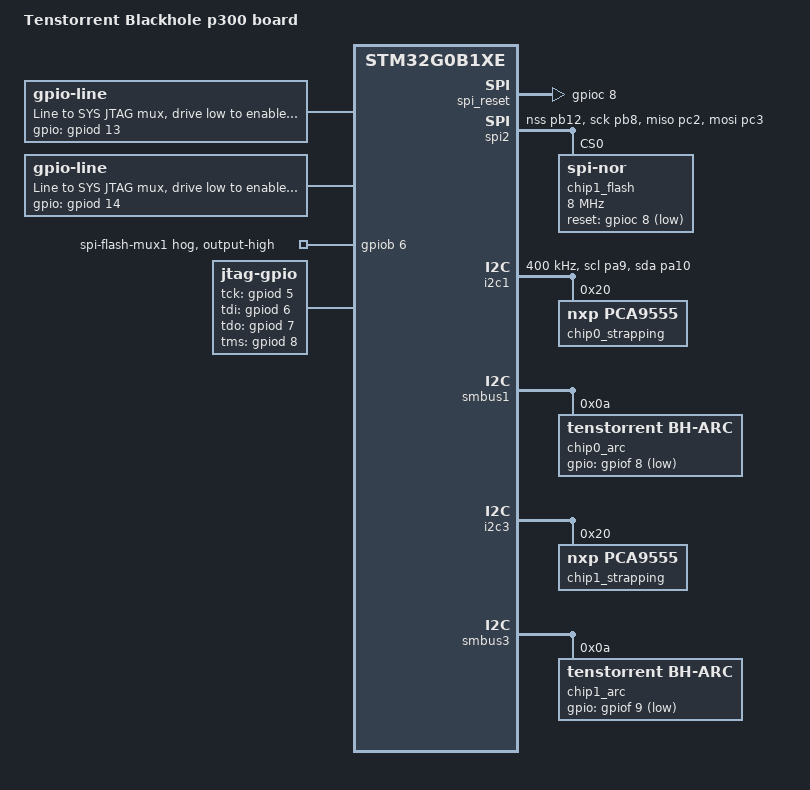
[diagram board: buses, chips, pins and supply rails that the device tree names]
/*
 * Copyright (c) 2024 Tenstorrent AI ULC
 *
 * SPDX-License-Identifier: Apache-2.0
 */

/dts-v1/;
#include <st/g0/stm32g0b1Xe.dtsi>
#include <st/g0/stm32g0b1v(b-c-e)ix-pinctrl.dtsi>

#include "tt_blackhole_base.dtsi"

/*
 * Left chip is local (comes up in non bifercation mode) this is referred to as chip1
 * in the schematics
 * Right chip is remote, and is referred to as chip0
 */

/ {
	model = "Tenstorrent Blackhole p300 board";
	compatible = "tenstorrent,blackhole,p300";

	chosen {
		zephyr,sram = &sram0;
		zephyr,flash = &flash0;
		zephyr,code-partition = &slot0_partition;
	};

	chip1: chip1 {
		compatible = "tenstorrent,bh-chip";

		asic_reset {
			compatible = "zephyr,gpio-line";
			label = "Line to asic reset";
			gpios = <&gpiob 1 GPIO_ACTIVE_LOW>;
		};

		spi_reset {
			compatible = "zephyr,gpio-line";
			label = "Line to SPI reset";
			gpios = <&gpioc 8 GPIO_ACTIVE_LOW>;
		};

		pgood {
			compatible = "zephyr,gpio-line";
			label = "PGOOD signal for asic 1";
			gpios = <&gpioc 5 GPIO_PULL_DOWN>;
		};

		therm_trip {
			compatible = "zephyr,gpio-line";
			label = "Thermal trip indicator";
			gpios = <&gpioc 9 GPIO_ACTIVE_HIGH>;
		};

		jtag {
			compatible = "zephyr,jtag-gpio";
			status = "okay";
			tck-gpios = <&gpiod 9 GPIO_ACTIVE_HIGH>;
			tdi-gpios = <&gpiod 10 GPIO_ACTIVE_HIGH>;
			tdo-gpios = <&gpiod 11 GPIO_ACTIVE_HIGH>;
			tms-gpios = <&gpiod 12 GPIO_ACTIVE_HIGH>;
			port-write-cycles = <2>;
			tck-delay = <1>;
		};

		strapping {
			gpio6 {
				compatible = "zephyr,gpio-line";
				label = "GPIO pin representing strap gpio6";
				gpios = <&chip1_strapping 4 GPIO_ACTIVE_HIGH>;
			};
		};

		flash = <&chip1_flash>;
		spi_mux {
			compatible = "zephyr,gpio-line";
			label = "Line to spi mux, drive low to enable bmfw -> eeprom";
			gpios = <&gpiob 6 GPIO_ACTIVE_LOW>;
		};

		arc = <&chip1_arc>;
	};

	arc_jtag_mux {
		compatible = "zephyr,gpio-line";
		label = "Line to SYS JTAG mux, drive low to enable bmfw -> eeprom";
		gpios = <&gpiod 13 GPIO_ACTIVE_HIGH>;
	};

	sys_jtag_mux {
		compatible = "zephyr,gpio-line";
		label = "Line to SYS JTAG mux, drive low to enable bmfw -> eeprom";
		gpios = <&gpiod 14 GPIO_ACTIVE_HIGH>;
	};

	chips {
		compatible = "tenstorrent,bh-chips";
		chips = <&chip1 &chip0>;
		primary = <0>;
	};
};

/*
 * Chip 1
 * sck: PA6
 * SO PC2
 * SI: PC3
 * RST: pc8
 * CS: pb12
 */
&spi2 {
	pinctrl-0 = <&spi2_nss_pb12 &spi2_sck_pb8
			 &spi2_miso_pc2 &spi2_mosi_pc3>;
	pinctrl-names = "default";
	status = "okay";

	chip1_flash: flash@0 {
		/* base properties */
		compatible = "jedec,spi-nor";
		status = "okay";

		reset-gpios = <&gpioc 8 (GPIO_ACTIVE_LOW | GPIO_PULL_UP)>;

		/* spi-device properties */
		reg = <0>;
		spi-max-frequency = <7999999>;
		spi-cpol;
		spi-cpha;

		/* jedec,spi-nor properties */
		size = <DT_SIZE_M(512)>; /* Size in bits */

		/* jedec,spi-nor-common properties */
		has-dpd;
		t-enter-dpd = <3000>;
		t-exit-dpd = <30000>;

		jedec-id = [20 bb 20];
	};
};

&gpiob {
	spi-flash-mux1 {
		gpio-hog;
		gpios = <6 GPIO_ACTIVE_HIGH>;
		output-high;
	};
};

/*
 * Chip 0
 * nss: PA4 CS (spi1_nss_pa4)
 * SO PA11 (spi1_miso_pa11)
 * SI PA12 (spi1_mosi_pa12)
 * RST PC7
 * SCK: pb3 (spi1_sck_pb3)
 */
&chip0 {
	compatible = "tenstorrent,bh-chip";

	jtag {
		compatible = "zephyr,jtag-gpio";
		status = "okay";
		tck-gpios = <&gpiod 5 GPIO_ACTIVE_HIGH>;
		tdi-gpios = <&gpiod 6 GPIO_ACTIVE_HIGH>;
		tdo-gpios = <&gpiod 7 GPIO_ACTIVE_HIGH>;
		tms-gpios = <&gpiod 8 GPIO_ACTIVE_HIGH>;
		port-write-cycles = <2>;
		tck-delay = <1>;
	};
};

&i2c1 {
	pinctrl-0 = <&i2c1_scl_pa9 &i2c1_sda_pa10>;
	pinctrl-names = "default";
	status = "okay";
	clock-frequency = <I2C_BITRATE_FAST>;
	compatible = "st,tt-stm32-i2c";

	scl-gpios = <&gpioa 9 GPIO_OPEN_DRAIN>;
	sda-gpios = <&gpioa 10 GPIO_OPEN_DRAIN>;

	chip0_strapping: strapping_expander@20 {
		compatible = "nxp,pca9555";
		status = "okay";

		#gpio-cells = <2>;
		ngpios = <16>;
		reg = <0x20>;
		gpio-controller;
	};
};

/*
 * I2C1_SW_EN is F8
 * I2C1 is I2C1
 * I2C1 is Chip0
 */
&smbus1 {
	status = "okay";
	compatible = "st,tt-stm32-smbus";

	chip0_arc: bh_arc@A {
		compatible = "tenstorrent,bh-arc";
		reg = <0xA>;

		gpios = <&gpiof 8 GPIO_ACTIVE_LOW>;
	};
};

&i2c3 {
	status = "okay";

	chip1_strapping: strapping_expander@20 {
		compatible = "nxp,pca9555";
		status = "okay";

		#gpio-cells = <2>;
		ngpios = <16>;
		reg = <0x20>;
		gpio-controller;
	};
};

/*
 * I2C0_SW_EN is F9
 * I2C0 is I2C3
 * I2C0 is Chip1
 */
&smbus3 {
	status = "okay";
	compatible = "st,tt-stm32-smbus";

	chip1_arc: bh_arc@A {
		compatible = "tenstorrent,bh-arc";
		reg = <0xA>;

		gpios = <&gpiof 9 GPIO_ACTIVE_LOW>;
	};
};
